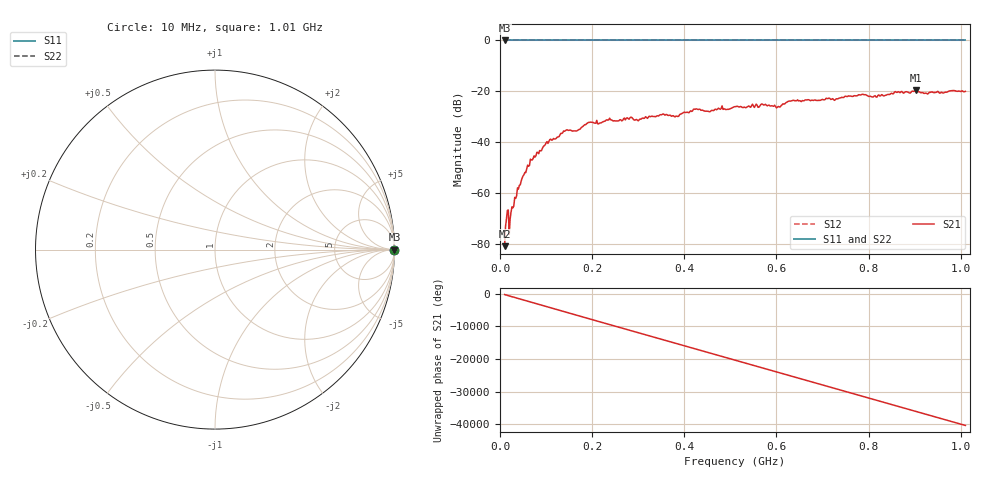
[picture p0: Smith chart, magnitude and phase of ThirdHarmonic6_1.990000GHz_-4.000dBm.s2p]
! 8/16/2025 11:55:01 PM
! C:\ANRITSUVNA\TEMP\TEMP.S2P
! CHANNEL.1
! TR.MEASUREMENT
! RAW.DATA
! RF.CORRECTION.OFF
! AVERAGING.OFF
! IF.BANDWIDTH: 5KHZ
! SWEEPTYPE:  FREQ.SWEEP(Linear)
! Reference Plane Port Info
! PORT:  PORT1  PORT2
! DISTANCE:  0  m  0  m
! TIME:  0  s  0  s
! PHASE.OFFSET:  0  deg.  0  deg.
! LOSS:  0  dB  0  dB
! REF.LOSS:  0  dB  0  dB
! REF.FREQ:  0  Hz  0  Hz
! Power Info
! POWER:  -20  dBm  -20  dBm
! EFF.POWER:  -20  dBm  -20  dBm
! SOURCE.ATTEN:  0  dB  0  dB
! TEST.ATTEN:  0  dB  0  dB
# GHZ S RI R 50.0
! FREQ.GHZ  S11RE  S11IM  S21RE  S21IM  S12RE  S12IM  S22RE  S22IM
!; PortSelection: Port_12
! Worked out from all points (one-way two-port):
!   501 points, 10 MHz to 1.01 GHz, reference 50 ohm
!   highest |S21| = -19.62 dB at 902 MHz (marker M1); lowest = -80.8 dB at 10 MHz (marker M2)
!   lowest |S11| = 0.0 dB at 10 MHz (marker M3)
!   |S11| at or under -10 dB: nowhere
!   |S22| runs from 0.0 to 0.0 dB; largest |S21 - S12| = 1.1
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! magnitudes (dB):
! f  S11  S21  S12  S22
! 10 MHz  0.0  -80.8  0.0  0.0
! 14 MHz  0.0  -70.1  0.0  0.0
! 24 MHz  0.0  -67.4  0.0  0.0
! 28 MHz  0.0  -65.8  0.0  0.0
! 42 MHz  0.0  -56.9  0.0  0.0
! 70 MHz  0.0  -47.0  0.0  0.0
! 104 MHz  0.0  -40.5  0.0  0.0
! 142 MHz  0.0  -35.4  0.0  0.0
! 178 MHz  0.0  -34.0  0.0  0.0
! 196 MHz  0.0  -32.1  0.0  0.0
! 344 MHz  0.0  -29.7  0.0  0.0
! 384 MHz  0.0  -29.7  0.0  0.0
! 424 MHz  0.0  -27.0  0.0  0.0
! 452 MHz  0.0  -27.8  0.0  0.0
! 510 MHz  0.0  -26.0  0.0  0.0
! 572 MHz  0.0  -25.4  0.0  0.0
! 604 MHz  0.0  -25.9  0.0  0.0
! 630 MHz  0.0  -23.8  0.0  0.0
! 678 MHz  0.0  -23.5  0.0  0.0
! 844 MHz  0.0  -21.2  0.0  0.0
! 902 MHz  0.0  -19.6  0.0  0.0
! 1.01 GHz  0.0  -20.0  0.0  0.0
